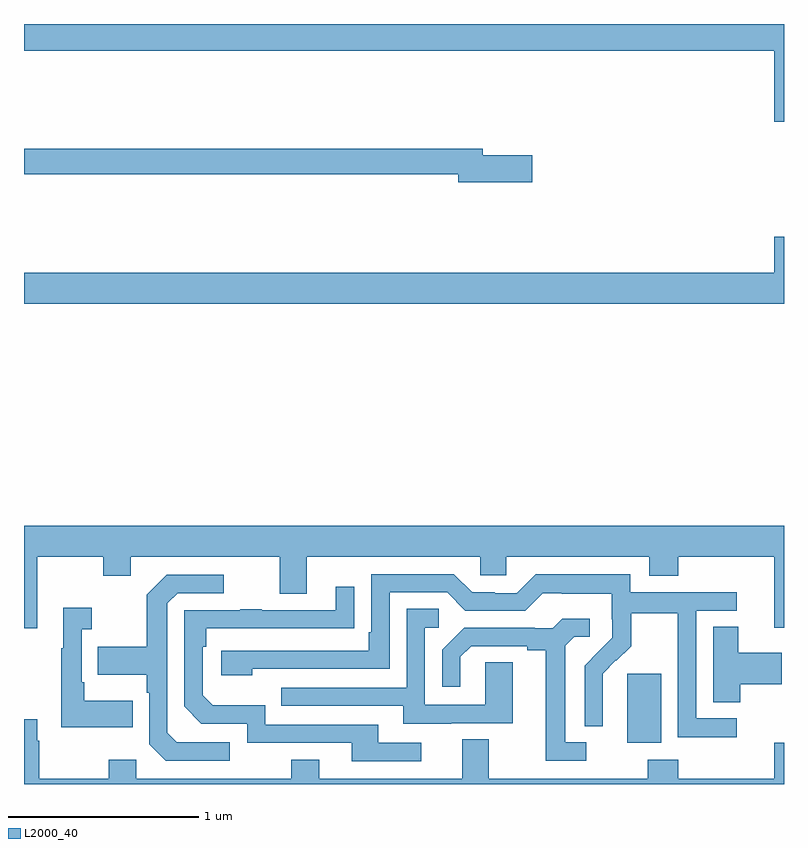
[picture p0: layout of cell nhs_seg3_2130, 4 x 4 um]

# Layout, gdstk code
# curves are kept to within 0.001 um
import gdstk
lib = gdstk.Library(unit=1e-6, precision=1e-09)
def R(c, l, rs):  # rectangles x0, y0, x1, y1
    for r in rs: c.add(gdstk.rectangle(r[:2], r[2:], *l))
def P(c, l, *ps):  # polygons
    for p in ps: c.add(gdstk.Polygon(p, *l))
L2000_40 = (2000, 40)

nhs_seg3_2130 = lib.new_cell('nhs_seg3_2130')
R(nhs_seg3_2130, L2000_40, [(224.174,686.618,224.353,686.979)])
P(nhs_seg3_2130, L2000_40, [(225,690.4),(221,690.4),(221,690.26),(224.948,690.26),(224.948,689.886),(225,689.886)],
  [(223.675,689.708),(223.414,689.708),(223.414,689.744),(221,689.744),(221,689.608),(223.286,689.608),(223.286,689.566),(223.675,689.566)],
  [(225,689.281),(224.948,689.281),(224.948,689.092),(221,689.092),(221,688.928),(225,688.928)],
  [(221.071,687.596),(221.416,687.596),(221.416,687.497),(221.563,687.497),(221.563,687.596),(222.347,687.596),(222.347,687.402),(222.487,687.402),(222.487,687.596),(223.401,687.596),(223.401,687.498),(223.539,687.498),(223.539,687.596),(224.291,687.596),(224.291,687.497),(224.444,687.497),(224.444,687.596),(224.948,687.596),(224.948,687.222),(225,687.222),(225,687.76),(221,687.76),(221,687.219),(221.071,687.219)],
  [(224.752,686.745),(224.538,686.745),(224.538,687.312),(224.752,687.312),(224.752,687.408),(224.19,687.408),(224.19,687.505),(223.693,687.505),(223.593,687.405),(223.478,687.405),(223.478,687.408),(223.359,687.408),(223.263,687.504),(222.828,687.504),(222.828,687.199),(222.815,687.199),(222.815,687.102),(222.039,687.102),(222.039,686.972),(222.2,686.972),(222.2,687.006),(222.924,687.006),(222.924,687.408),(223.227,687.408),(223.323,687.312),(223.638,687.312),(223.731,687.405),(223.831,687.405),(223.831,687.401),(224.094,687.401),(224.094,687.267),(224.096,687.267),(224.096,687.17),(223.95,687.022),(223.95,686.704),(224.046,686.704),(224.045,686.981),(224.115,687.051),(224.118,687.048),(224.195,687.125),(224.195,687.3),(224.44,687.3),(224.44,687.076),(224.442,687.076),(224.442,686.647),(224.752,686.647)],
  [(222.082,686.619),(221.805,686.619),(221.754,686.67),(221.754,687.351),(221.808,687.405),(222.052,687.405),(222.052,687.501),(221.751,687.501),(221.646,687.395),(221.646,687.123),(221.389,687.123),(221.389,686.975),(221.646,686.975),(221.646,686.879),(221.658,686.879),(221.658,686.61),(221.745,686.523),(222.082,686.523)],
  [(223.09,686.616),(222.865,686.616),(222.865,686.712),(222.27,686.712),(222.27,686.815),(221.993,686.815),(221.94,686.868),(221.94,687.122),(221.96,687.122),(221.96,687.219),(222.737,687.22),(222.737,687.439),(222.641,687.439),(222.641,687.315),(222.251,687.315),(222.251,687.32),(222.139,687.32),(222.139,687.315),(221.844,687.315),(221.844,686.808),(221.934,686.718),(222.174,686.718),(222.174,686.616),(222.725,686.616),(222.725,686.52),(223.09,686.52)],
  [(221.573,686.839),(221.317,686.839),(221.317,686.935),(221.304,686.935),(221.304,687.215),(221.356,687.215),(221.356,687.328),(221.207,687.328),(221.207,687.115),(221.196,687.115),(221.196,686.699),(221.573,686.699)],
  [(223.249,686.721),(223.573,686.721),(223.573,687.041),(223.428,687.041),(223.428,686.817),(223.11,686.817),(223.11,687.222),(223.183,687.222),(223.183,687.323),(223.014,687.323),(223.014,686.907),(222.355,686.907),(222.355,686.811),(222.995,686.811),(222.995,686.717),(223.249,686.717)],
  [(223.96,686.619),(223.849,686.619),(223.849,687.127),(223.896,687.174),(223.978,687.174),(223.978,687.271),(223.834,687.271),(223.782,687.219),(223.688,687.219),(223.688,687.222),(223.316,687.222),(223.2,687.106),(223.2,686.913),(223.297,686.913),(223.297,687.069),(223.354,687.126),(223.649,687.126),(223.649,687.104),(223.745,687.104),(223.745,686.523),(223.96,686.523)],
  [(224.771,686.926),(224.989,686.926),(224.989,687.091),(224.758,687.091),(224.758,687.227),(224.627,687.227),(224.627,686.83),(224.771,686.83)],
  [(223.307,686.636),(223.307,686.428),(222.553,686.428),(222.553,686.527),(222.406,686.527),(222.406,686.428),(221.592,686.428),(221.592,686.527),(221.446,686.527),(221.446,686.428),(221.079,686.428),(221.079,686.627),(221.071,686.627),(221.071,686.74),(221,686.74),(221,686.4),(225,686.4),(225,686.617),(224.948,686.617),(224.948,686.428),(224.444,686.428),(224.444,686.527),(224.284,686.527),(224.284,686.428),(223.447,686.428),(223.447,686.636)])

lib.write_gds('nhs_seg3_2130.gds')
